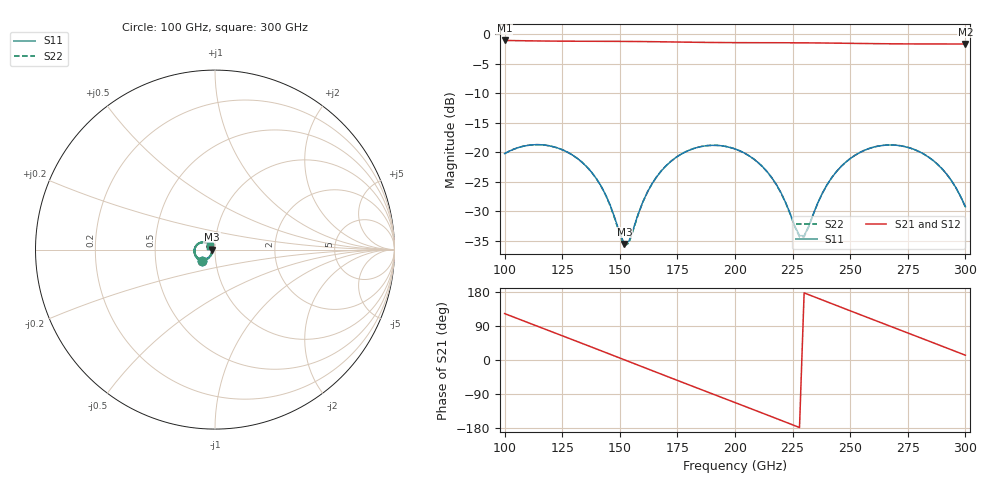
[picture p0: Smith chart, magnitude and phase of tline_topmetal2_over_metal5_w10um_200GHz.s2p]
#  GHZ S DB R 50
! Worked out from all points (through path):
!   101 points, 100 GHz to 300 GHz, reference 50 ohm
!   highest |S21| = -1.03 dB at 100 GHz (marker M1); lowest = -1.6 dB at 300 GHz (marker M2)
!   group delay of S21, straight-line fit = 6.53 ps
!   lowest |S11| = -35.5 dB at 152 GHz (marker M3), VSWR 1.03, Z = 48.4 + j0.0344 ohm
!   |S11| at or under -10 dB: start of sweep to end of sweep
!   |S22| runs from -35.9 to -18.7 dB; largest |S21 - S12| = 1e-13
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100  -20.22 -139.6  -1.03 122.5  -1.03 122.5  -20.21 -139.6
116  -18.71 -173.4  -1.12 85.0  -1.12 85.0  -18.71 -173.4
124  -19.39 169.9  -1.15 66.3  -1.15 66.3  -19.39 169.9
134  -21.81 150.8  -1.16 42.9  -1.16 42.9  -21.82 150.6
144  -27.30 139.2  -1.18 19.4  -1.18 19.4  -27.36 138.7
152  -35.53 178.8  -1.19 0.5  -1.19 0.5  -35.90 179.0
154  -35.03 -154.0  -1.20 -4.2  -1.20 -4.2  -35.33 -152.6
162  -26.71 -124.4  -1.23 -23.2  -1.23 -23.2  -26.73 -123.3
168  -23.14 -130.5  -1.26 -37.3  -1.26 -37.3  -23.15 -129.6
184  -19.13 -159.8  -1.34 -74.9  -1.34 -74.9  -19.12 -159.2
200  -19.42 168.4  -1.40 -112.3  -1.40 -112.3  -19.42 168.9
216  -24.30 142.2  -1.42 -149.8  -1.42 -149.8  -24.32 142.4
228  -34.12 174.0  -1.43 -178.2  -1.43 -178.2  -34.34 174.4
230  -34.12 -162.8  -1.43 177.1  -1.43 177.1  -34.32 -161.7
234  -30.42 -134.8  -1.45 167.6  -1.45 167.6  -30.49 -133.3
240  -25.46 -129.5  -1.47 153.4  -1.47 153.4  -25.47 -128.3
248  -21.68 -139.1  -1.51 134.6  -1.51 134.6  -21.68 -138.2
258  -19.38 -157.0  -1.56 111.1  -1.56 111.1  -19.37 -156.2
268  -18.75 -176.3  -1.60 87.7  -1.60 87.7  -18.74 -175.6
286  -21.37 150.6  -1.62 45.6  -1.62 45.6  -21.37 151.3
294  -24.82 140.9  -1.63 26.7  -1.63 26.7  -24.83 141.4
300  -29.21 144.1  -1.63 12.6  -1.63 12.6  -29.26 144.4
